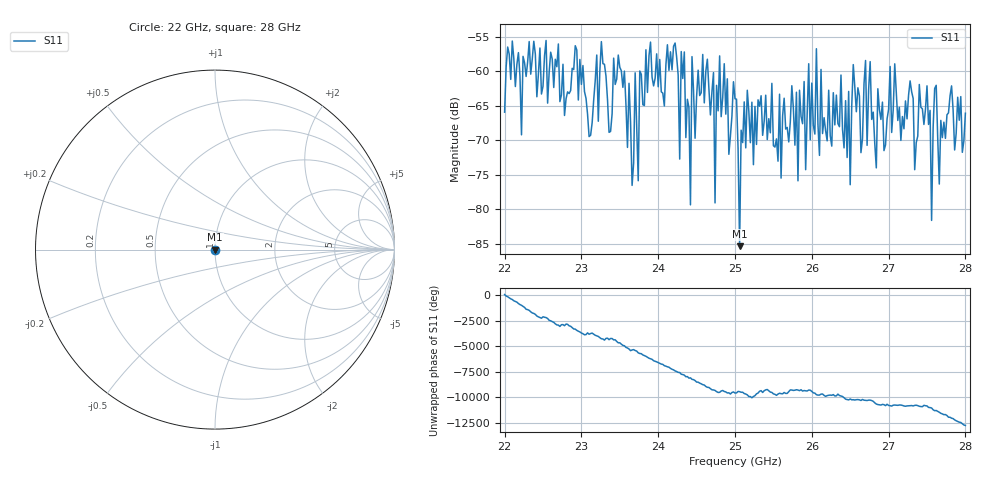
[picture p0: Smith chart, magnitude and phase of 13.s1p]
#  HZ  S  RI  R  50.00
! Rohde & Schwarz ZVA40 4Ports - Version 3.90 - 1145.1110k42 SN: 100403
! Date: 2023-10-04 09:35:08
! Measurement: S12
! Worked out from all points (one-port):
!   301 points, 22 GHz to 28 GHz, reference 50 ohm
!   lowest |S11| = -85.3 dB at 25.06 GHz (marker M1), VSWR 1.00, Z = 50 - j0.00514 ohm
!   |S11| at or under -10 dB: start of sweep to end of sweep
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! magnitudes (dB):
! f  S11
! 22 GHz  -65.9
! 22.76 GHz  -59.0
! 23.5 GHz  -59.4
! 23.66 GHz  -76.5
! 23.7 GHz  -60.2
! 23.74 GHz  -75.8
! 23.84 GHz  -56.9
! 24.26 GHz  -60.5
! 24.34 GHz  -57.2
! 24.42 GHz  -79.3
! 24.44 GHz  -57.9
! 24.72 GHz  -60.2
! 24.74 GHz  -79.0
! 24.8 GHz  -57.8
! 25 GHz  -63.9
! 25.06 GHz  -85.3
! 25.16 GHz  -62.7
! 25.76 GHz  -65.3
! 26.38 GHz  -60.5
! 26.5 GHz  -76.4
! 26.54 GHz  -59.0
! 26.84 GHz  -74.0
! 27.26 GHz  -63.4
! 27.5 GHz  -62.1
! 27.56 GHz  -81.6
! 27.6 GHz  -62.5
! 27.66 GHz  -76.3
! 28 GHz  -66.1
